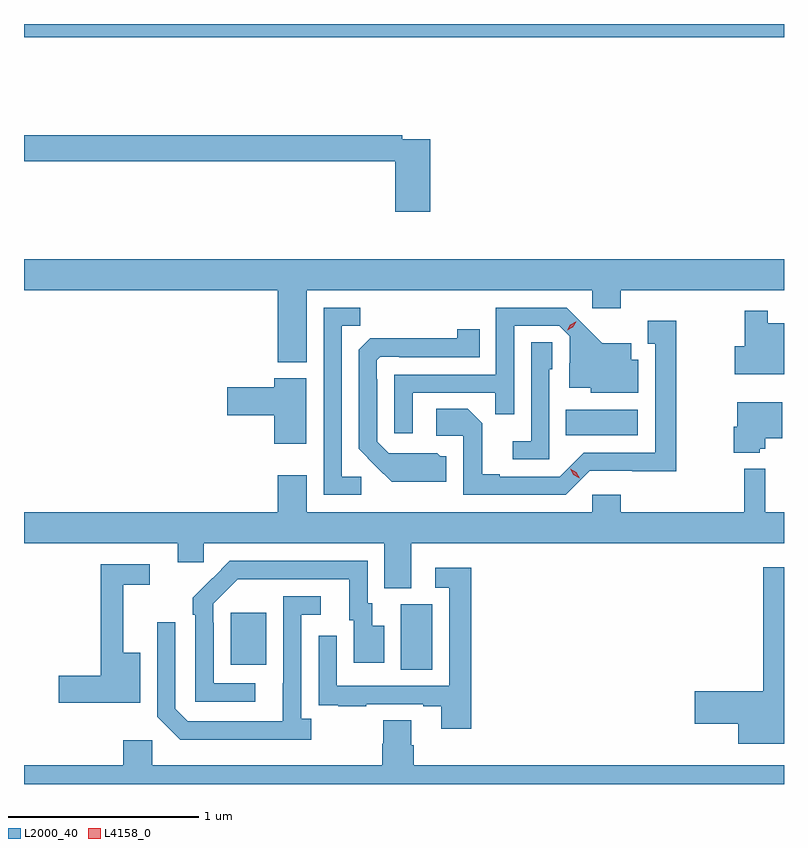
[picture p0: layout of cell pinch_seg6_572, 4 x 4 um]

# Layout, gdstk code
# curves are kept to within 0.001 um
import gdstk
lib = gdstk.Library(unit=1e-6, precision=1e-09)
def R(c, l, rs):  # rectangles x0, y0, x1, y1
    for r in rs: c.add(gdstk.rectangle(r[:2], r[2:], *l))
def P(c, l, *ps):  # polygons
    for p in ps: c.add(gdstk.Polygon(p, *l))
L2000_40 = (2000, 40)
L4158_0 = (4158, 0)

pinch_seg6_572 = lib.new_cell('pinch_seg6_572')
R(pinch_seg6_572, L2000_40, [(601.37,959.992,601.534,960.336), (600.473,960.017,600.661,960.292), (602.236,961.226,602.617,961.36), (599.386,963.32,603.386,963.39)])
P(pinch_seg6_572, L2000_40, [(601.523,962.784),(601.376,962.784),(601.376,962.804),(599.386,962.804),(599.386,962.668),(601.34,962.668),(601.34,962.403),(601.523,962.403)],
  [(599.386,961.988),(600.722,961.988),(600.722,961.61),(600.874,961.61),(600.874,961.988),(602.376,961.988),(602.376,961.893),(602.528,961.893),(602.528,961.988),(603.386,961.988),(603.386,962.152),(599.386,962.152)],
  [(601.162,961.008),(601.059,961.008),(601.059,961.801),(601.155,961.801),(601.155,961.896),(600.963,961.896),(600.963,960.912),(601.162,960.912)],
  [(601.431,961.449),(601.867,961.449),(601.867,961.336),(601.965,961.336),(601.965,961.803),(602.202,961.803),(602.259,961.746),(602.259,961.604),(602.255,961.604),(602.255,961.475),(602.37,961.475),(602.37,961.448),(602.62,961.448),(602.62,961.624),(602.581,961.624),(602.581,961.711),(602.429,961.711),(602.242,961.896),(601.869,961.896),(601.869,961.545),(601.335,961.545),(601.335,961.236),(601.431,961.236)],
  [(603.386,961.816),(603.301,961.816),(603.301,961.882),(603.18,961.882),(603.18,961.695),(603.128,961.695),(603.128,961.547),(603.386,961.547)],
  [(602.364,961.038),(602.819,961.037),(602.819,961.828),(602.669,961.828),(602.669,961.707),(602.708,961.707),(602.708,961.134),(602.331,961.134),(602.205,961.008),(601.891,961.008),(601.891,961.021),(601.797,961.021),(601.797,961.288),(601.721,961.364),(601.557,961.364),(601.557,961.224),(601.698,961.224),(601.698,960.912),(602.238,960.912)],
  [(601.609,961.116),(601.578,961.116),(601.562,961.132),(601.305,961.131),(601.245,961.191),(601.245,961.52),(601.242,961.52),(601.242,961.62),(601.26,961.638),(601.36,961.638),(601.36,961.635),(601.784,961.635),(601.784,961.783),(601.666,961.783),(601.666,961.736),(601.208,961.735),(601.149,961.676),(601.149,961.154),(601.321,960.98),(601.609,960.98)],
  [(602.151,961.572),(602.166,961.572),(602.166,961.715),(602.055,961.715),(602.055,961.195),(601.959,961.195),(601.959,961.098),(602.151,961.098)],
  [(600.871,961.525),(600.704,961.525),(600.704,961.478),(600.456,961.478),(600.456,961.331),(600.704,961.331),(600.704,961.182),(600.871,961.182)],
  [(603.258,961.155),(603.286,961.155),(603.286,961.211),(603.376,961.211),(603.376,961.399),(603.14,961.399),(603.14,961.269),(603.121,961.269),(603.121,961.133),(603.258,961.133)],
  [(601.423,960.656),(603.386,960.656),(603.386,960.82),(603.287,960.82),(603.287,961.048),(603.177,961.048),(603.177,960.82),(602.528,960.82),(602.528,960.913),(602.376,960.913),(602.376,960.82),(600.874,960.82),(600.874,961.015),(600.722,961.015),(600.722,960.82),(599.386,960.82),(599.386,960.656),(600.194,960.656),(600.194,960.558),(600.333,960.558),(600.333,960.656),(601.283,960.656),(601.283,960.421),(601.423,960.421)],
  [(600.604,959.919),(600.384,959.919),(600.384,960.239),(600.381,960.239),(600.381,960.339),(600.51,960.468),(601.097,960.468),(601.097,960.252),(601.121,960.252),(601.121,960.027),(601.282,960.027),(601.282,960.223),(601.219,960.223),(601.219,960.342),(601.194,960.342),(601.194,960.564),(600.47,960.564),(600.273,960.369),(600.273,960.281),(600.288,960.281),(600.288,959.823),(600.604,959.823)],
  [(599.998,960.082),(599.909,960.082),(599.909,960.438),(600.049,960.438),(600.049,960.546),(599.791,960.546),(599.791,959.96),(599.568,959.96),(599.568,959.818),(599.998,959.818)],
  [(603.386,960.532),(603.276,960.532),(603.276,959.879),(602.916,959.879),(602.916,959.708),(603.146,959.708),(603.146,959.603),(603.386,959.603)],
  [(601.739,960.529),(601.551,960.529),(601.551,960.423),(601.623,960.423),(601.623,959.907),(601.032,959.907),(601.032,960.169),(600.936,960.169),(600.936,959.914),(600.937,959.914),(600.937,959.805),(601.039,959.805),(601.039,959.799),(601.187,959.799),(601.187,959.811),(601.487,959.811),(601.487,959.799),(601.583,959.799),(601.583,959.682),(601.739,959.682)],
  [(600.898,959.734),(600.846,959.734),(600.846,960.282),(600.949,960.282),(600.949,960.378),(600.75,960.378),(600.749,959.721),(600.249,959.721),(600.183,959.787),(600.183,960.241),(600.087,960.241),(600.087,959.745),(600.208,959.624),(600.898,959.624)],
  [(603.386,959.488),(601.436,959.488),(601.436,959.594),(601.423,959.594),(601.423,959.726),(601.276,959.726),(601.276,959.601),(601.271,959.601),(601.271,959.488),(600.06,959.488),(600.06,959.62),(599.909,959.62),(599.909,959.488),(599.386,959.488),(599.386,959.39),(603.386,959.39)])
P(pinch_seg6_572, L4158_0, [(602.31,960.999),(602.278,961.017),(602.26,961.05),(602.26,961.05),(602.261,961.05),(602.292,961.031),(602.31,960.999),(602.31,960.999)],
  [(602.244,961.777),(602.244,961.778),(602.261,961.807),(602.291,961.823),(602.292,961.823),(602.292,961.822),(602.275,961.793),(602.245,961.777)])

lib.write_gds('pinch_seg6_572.gds')
